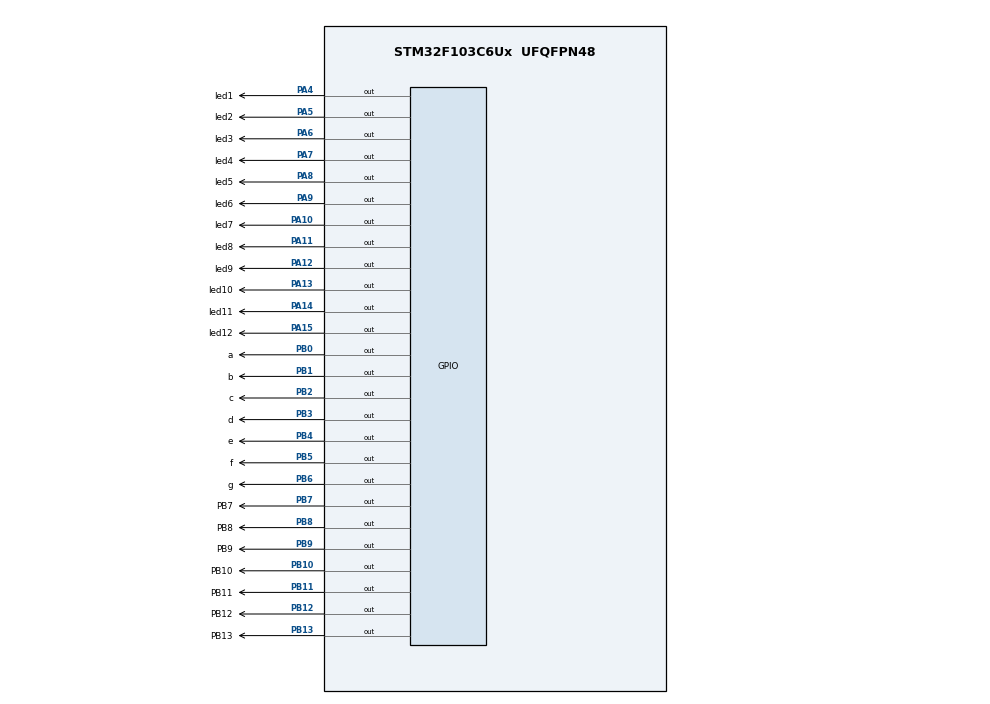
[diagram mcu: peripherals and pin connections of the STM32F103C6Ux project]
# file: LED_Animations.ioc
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Mcu.Family=STM32F1
Mcu.Name=STM32F103C6Ux
Mcu.Package=UFQFPN48
NVIC.PriorityGroup=NVIC_PRIORITYGROUP_4
PA10.GPIO_Label=led7
PA10.Signal=GPIO_Output
PA11.GPIO_Label=led8
PA11.Signal=GPIO_Output
PA12.GPIO_Label=led9
PA12.Signal=GPIO_Output
PA13.GPIO_Label=led10
PA13.Signal=GPIO_Output
PA14.GPIO_Label=led11
PA14.Signal=GPIO_Output
PA15.GPIO_Label=led12
PA15.Signal=GPIO_Output
PA4.GPIO_Label=led1
PA4.Signal=GPIO_Output
PA5.GPIO_Label=led2
PA5.Signal=GPIO_Output
PA6.GPIO_Label=led3
PA6.Signal=GPIO_Output
PA7.GPIO_Label=led4
PA7.Signal=GPIO_Output
PA8.GPIO_Label=led5
PA8.Signal=GPIO_Output
PA9.GPIO_Label=led6
PA9.Signal=GPIO_Output
PB0.GPIO_Label=a
PB0.Signal=GPIO_Output
PB1.GPIO_Label=b
PB1.Signal=GPIO_Output
PB10.GPIO_Label=PB10
PB10.Signal=GPIO_Output
PB11.GPIO_Label=PB11
PB11.Signal=GPIO_Output
PB12.GPIO_Label=PB12
PB12.Signal=GPIO_Output
PB13.GPIO_Label=PB13
PB13.Signal=GPIO_Output
PB2.GPIO_Label=c
PB2.Signal=GPIO_Output
PB3.GPIO_Label=d
PB3.Signal=GPIO_Output
PB4.GPIO_Label=e
PB4.Signal=GPIO_Output
PB5.GPIO_Label=f
PB5.Signal=GPIO_Output
PB6.GPIO_Label=g
PB6.Signal=GPIO_Output
PB7.GPIO_Label=PB7
PB7.Signal=GPIO_Output
PB8.GPIO_Label=PB8
PB8.Signal=GPIO_Output
PB9.GPIO_Label=PB9
PB9.Signal=GPIO_Output
ProjectManager.HeapSize=0x200
ProjectManager.StackSize=0x400
ProjectManager.TargetToolchain=STM32CubeIDE
RCC.APB1Freq_Value=8000000
RCC.APB2Freq_Value=8000000
VP_SYS_VS_ND.Mode=No_Debug
board=custom

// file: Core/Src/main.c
/* USER CODE BEGIN Header */
/**
  ******************************************************************************
  * @file           : main.c
  * @brief          : Main program body
  ******************************************************************************
  * @attention
  *
  * <h2><center>&copy; Copyright (c) 2024 STMicroelectronics.
  * All rights reserved.</center></h2>
  *
  * This software component is licensed by ST under BSD 3-Clause license,
  * the "License"; You may not use this file except in compliance with the
  * License. You may obtain a copy of the License at:
  *                        opensource.org/licenses/BSD-3-Clause
  *
  ******************************************************************************
  */
/* USER CODE END Header */
#include "main.h"

void SystemClock_Config(void);
static void MX_GPIO_Init(void);

/* USER CODE BEGIN 0 */
void clearALLclock(){
	  HAL_GPIO_WritePin(led1_GPIO_Port, led1_Pin, GPIO_PIN_RESET);
	  HAL_GPIO_WritePin(led2_GPIO_Port, led2_Pin, GPIO_PIN_RESET);
	  HAL_GPIO_WritePin(led3_GPIO_Port, led3_Pin, GPIO_PIN_RESET);
	  HAL_GPIO_WritePin(led4_GPIO_Port, led4_Pin, GPIO_PIN_RESET);
	  HAL_GPIO_WritePin(led5_GPIO_Port, led5_Pin, GPIO_PIN_RESET);
	  HAL_GPIO_WritePin(led6_GPIO_Port, led6_Pin, GPIO_PIN_RESET);
	  HAL_GPIO_WritePin(led7_GPIO_Port, led7_Pin, GPIO_PIN_RESET);
	  HAL_GPIO_WritePin(led8_GPIO_Port, led8_Pin, GPIO_PIN_RESET);
	  HAL_GPIO_WritePin(led9_GPIO_Port, led9_Pin, GPIO_PIN_RESET);
	  HAL_GPIO_WritePin(led10_GPIO_Port, led10_Pin, GPIO_PIN_RESET);
	  HAL_GPIO_WritePin(led11_GPIO_Port, led11_Pin, GPIO_PIN_RESET);
	  HAL_GPIO_WritePin(led12_GPIO_Port, led12_Pin, GPIO_PIN_RESET);

}
void setNumberOnClock(int num){
	  if(num == 1) HAL_GPIO_WritePin(led1_GPIO_Port, led1_Pin, GPIO_PIN_SET);
	  if(num == 2) HAL_GPIO_WritePin(led2_GPIO_Port, led2_Pin, GPIO_PIN_SET);
	  if(num == 3) HAL_GPIO_WritePin(led3_GPIO_Port, led3_Pin, GPIO_PIN_SET);
	  if(num == 4) HAL_GPIO_WritePin(led4_GPIO_Port, led4_Pin, GPIO_PIN_SET);
	  if(num == 5) HAL_GPIO_WritePin(led5_GPIO_Port, led5_Pin, GPIO_PIN_SET);
	  if(num == 6) HAL_GPIO_WritePin(led6_GPIO_Port, led6_Pin, GPIO_PIN_SET);
	  if(num == 7) HAL_GPIO_WritePin(led7_GPIO_Port, led7_Pin, GPIO_PIN_SET);
	  if(num == 8) HAL_GPIO_WritePin(led8_GPIO_Port, led8_Pin, GPIO_PIN_SET);
	  if(num == 9) HAL_GPIO_WritePin(led9_GPIO_Port, led9_Pin, GPIO_PIN_SET);
	  if(num == 10) HAL_GPIO_WritePin(led10_GPIO_Port, led10_Pin, GPIO_PIN_SET);
	  if(num == 11) HAL_GPIO_WritePin(led11_GPIO_Port, led11_Pin, GPIO_PIN_SET);
	  if(num == 0) HAL_GPIO_WritePin(led12_GPIO_Port, led12_Pin, GPIO_PIN_SET);
}
void  clearNumberOnClock(int num){
	  if(num == 1) HAL_GPIO_WritePin(led1_GPIO_Port, led1_Pin, GPIO_PIN_RESET);
	  if(num == 2) HAL_GPIO_WritePin(led2_GPIO_Port, led2_Pin, GPIO_PIN_RESET);
	  if(num == 3) HAL_GPIO_WritePin(led3_GPIO_Port, led3_Pin, GPIO_PIN_RESET);
	  if(num == 4) HAL_GPIO_WritePin(led4_GPIO_Port, led4_Pin, GPIO_PIN_RESET);
	  if(num == 5) HAL_GPIO_WritePin(led5_GPIO_Port, led5_Pin, GPIO_PIN_RESET);
	  if(num == 6) HAL_GPIO_WritePin(led6_GPIO_Port, led6_Pin, GPIO_PIN_RESET);
	  if(num == 7) HAL_GPIO_WritePin(led7_GPIO_Port, led7_Pin, GPIO_PIN_RESET);
	  if(num == 8) HAL_GPIO_WritePin(led8_GPIO_Port, led8_Pin, GPIO_PIN_RESET);
	  if(num == 9) HAL_GPIO_WritePin(led9_GPIO_Port, led9_Pin, GPIO_PIN_RESET);
	  if(num == 10) HAL_GPIO_WritePin(led10_GPIO_Port, led10_Pin, GPIO_PIN_RESET);
	  if(num == 11) HAL_GPIO_WritePin(led11_GPIO_Port, led11_Pin, GPIO_PIN_RESET);
	  if(num == 0) HAL_GPIO_WritePin(led12_GPIO_Port, led12_Pin, GPIO_PIN_RESET);
}

/* USER CODE END 0 */

int main(void)
{

  /* MCU Configuration--------------------------------------------------------*/

  /* Reset of all peripherals, Initializes the Flash interface and the Systick. */
  HAL_Init();

  /* Configure the system clock */
  SystemClock_Config();

  /* Initialize all configured peripherals */
  MX_GPIO_Init();
  int second = 0;
    int minute = 0;
    int hour = 0;

    while (1)
    {
      /* USER CODE END WHILE */

      /* USER CODE BEGIN 3 */
    //clearALLclock();

  	  if(second == 60)
  	  {
  		  if((second/5 - 1) != (minute/5) && (second/5 - 1) != hour)
  		  {
  			  //xoa kim giay
  			  clearNumberOnClock(second/5 - 1);
  		  }
  		  minute ++;
  		  second = 0;
  	  }
		  if((second/5 - 1) != (minute/5) && (second/5 - 1) != hour)
		  {
			  //xoa kim giay
			  clearNumberOnClock(second/5 - 1);
		  }
  	  setNumberOnClock(second/5);
  	  second++;

  	  if(minute == 60)
  	  {
  	  	  if((minute/5 - 1) != (second/5) && (minute/5 - 1) != hour)
  	  	  {
  	  		  // xoa kim phut
  	  		  clearNumberOnClock(minute/5 - 1);
  	  	  }
  		  hour ++;
  		  minute = 0;
  	  }
  	  if((minute/5 - 1) != (second/5) && (minute/5 - 1) != hour)
  	  {
  		  clearNumberOnClock(minute/5 - 1);
  	  }
  	  setNumberOnClock(minute/5);

  	  if(hour == 12)
  	  {
  		  if((hour -1) != (minute/5) && (hour -1) != (second/5))
  		  {
  			  //xoa kim gio
  			  clearNumberOnClock(hour -1);
  		  }
  		  hour = 0;
  	  }
  	  if((hour -1) != (minute/5) && (hour -1) != (second/5))
  	  {
  		  //xoa kim gio
  		  clearNumberOnClock(hour -1);
  	  }
  	  setNumberOnClock(hour);

  	  HAL_Delay(200);

  /* USER CODE END 3 */
}
}
void SystemClock_Config(void)
{
  RCC_OscInitTypeDef RCC_OscInitStruct = {0};
  RCC_ClkInitTypeDef RCC_ClkInitStruct = {0};

  /** Initializes the RCC Oscillators according to the specified parameters
  * in the RCC_OscInitTypeDef structure.
  */
  RCC_OscInitStruct.OscillatorType = RCC_OSCILLATORTYPE_HSI;
  RCC_OscInitStruct.HSIState = RCC_HSI_ON;
  RCC_OscInitStruct.HSICalibrationValue = RCC_HSICALIBRATION_DEFAULT;
  RCC_OscInitStruct.PLL.PLLState = RCC_PLL_NONE;
  if (HAL_RCC_OscConfig(&RCC_OscInitStruct) != HAL_OK)
  {
    Error_Handler();
  }
  /** Initializes the CPU, AHB and APB buses clocks
  */
  RCC_ClkInitStruct.ClockType = RCC_CLOCKTYPE_HCLK|RCC_CLOCKTYPE_SYSCLK
                              |RCC_CLOCKTYPE_PCLK1|RCC_CLOCKTYPE_PCLK2;
  RCC_ClkInitStruct.SYSCLKSource = RCC_SYSCLKSOURCE_HSI;
  RCC_ClkInitStruct.AHBCLKDivider = RCC_SYSCLK_DIV1;
  RCC_ClkInitStruct.APB1CLKDivider = RCC_HCLK_DIV1;
  RCC_ClkInitStruct.APB2CLKDivider = RCC_HCLK_DIV1;

  if (HAL_RCC_ClockConfig(&RCC_ClkInitStruct, FLASH_LATENCY_0) != HAL_OK)
  {
    Error_Handler();
  }
}

static void MX_GPIO_Init(void)
{
  GPIO_InitTypeDef GPIO_InitStruct = {0};

  /* GPIO Ports Clock Enable */
  __HAL_RCC_GPIOA_CLK_ENABLE();
  __HAL_RCC_GPIOB_CLK_ENABLE();

  /*Configure GPIO pin Output Level */
  HAL_GPIO_WritePin(GPIOA, led1_Pin|led2_Pin|led3_Pin|led4_Pin
                          |led5_Pin|led6_Pin|led7_Pin|led8_Pin
                          |led9_Pin|led10_Pin|led11_Pin|led12_Pin, GPIO_PIN_RESET);

  /*Configure GPIO pin Output Level */
  HAL_GPIO_WritePin(GPIOB, a_Pin|b_Pin|c_Pin|PB10_Pin
                          |PB11_Pin|PB12_Pin|PB13_Pin|d_Pin
                          |e_Pin|f_Pin|g_Pin|PB7_Pin
                          |PB8_Pin|PB9_Pin, GPIO_PIN_RESET);

  /*Configure GPIO pins : led1_Pin led2_Pin led3_Pin led4_Pin
                           led5_Pin led6_Pin led7_Pin led8_Pin
                           led9_Pin led10_Pin led11_Pin led12_Pin */
  GPIO_InitStruct.Pin = led1_Pin|led2_Pin|led3_Pin|led4_Pin
                          |led5_Pin|led6_Pin|led7_Pin|led8_Pin
                          |led9_Pin|led10_Pin|led11_Pin|led12_Pin;
  GPIO_InitStruct.Mode = GPIO_MODE_OUTPUT_PP;
  GPIO_InitStruct.Pull = GPIO_NOPULL;
  GPIO_InitStruct.Speed = GPIO_SPEED_FREQ_LOW;
  HAL_GPIO_Init(GPIOA, &GPIO_InitStruct);

  /*Configure GPIO pins : a_Pin b_Pin c_Pin PB10_Pin
                           PB11_Pin PB12_Pin PB13_Pin d_Pin
                           e_Pin f_Pin g_Pin PB7_Pin
                           PB8_Pin PB9_Pin */
  GPIO_InitStruct.Pin = a_Pin|b_Pin|c_Pin|PB10_Pin
                          |PB11_Pin|PB12_Pin|PB13_Pin|d_Pin
                          |e_Pin|f_Pin|g_Pin|PB7_Pin
                          |PB8_Pin|PB9_Pin;
  GPIO_InitStruct.Mode = GPIO_MODE_OUTPUT_PP;
  GPIO_InitStruct.Pull = GPIO_NOPULL;
  GPIO_InitStruct.Speed = GPIO_SPEED_FREQ_LOW;
  HAL_GPIO_Init(GPIOB, &GPIO_InitStruct);

}

void Error_Handler(void)
{
  __disable_irq();
  while (1)
  {
  }
}

/************************ (C) COPYRIGHT STMicroelectronics *****END OF FILE****/
